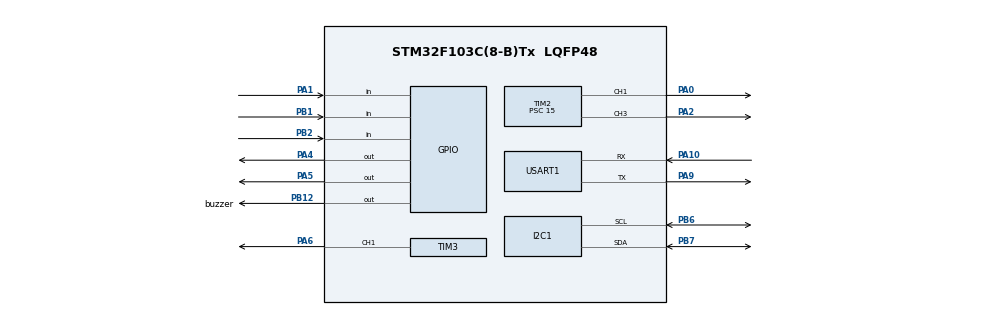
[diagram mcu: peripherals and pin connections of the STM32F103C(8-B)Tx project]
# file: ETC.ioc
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Mcu.Family=STM32F1
Mcu.Name=STM32F103C(8-B)Tx
Mcu.Package=LQFP48
NVIC.PriorityGroup=NVIC_PRIORITYGROUP_4
PA0-WKUP.Signal=S_TIM2_CH1_ETR
PA1.Signal=GPIO_Input
PA10.Mode=Asynchronous
PA10.Signal=USART1_RX
PA13.Mode=Serial_Wire
PA13.Signal=SYS_JTMS-SWDIO
PA14.Mode=Serial_Wire
PA14.Signal=SYS_JTCK-SWCLK
PA2.Signal=S_TIM2_CH3
PA4.Signal=GPIO_Output
PA5.Signal=GPIO_Output
PA6.Signal=S_TIM3_CH1
PA9.Mode=Asynchronous
PA9.Signal=USART1_TX
PB1.GPIO_PuPd=GPIO_PULLUP
PB1.Signal=GPIO_Input
PB12.GPIO_Label=buzzer
PB12.GPIO_PuPd=GPIO_PULLUP
PB12.GPIO_Speed=GPIO_SPEED_FREQ_MEDIUM
PB12.PinState=GPIO_PIN_SET
PB12.Signal=GPIO_Output
PB2.GPIO_PuPd=GPIO_PULLUP
PB2.Signal=GPIO_Input
PB6.Mode=I2C
PB6.Signal=I2C1_SCL
PB7.Mode=I2C
PB7.Signal=I2C1_SDA
ProjectManager.HeapSize=0x200
ProjectManager.StackSize=0x400
ProjectManager.TargetToolchain=STM32CubeIDE
RCC.APB1Freq_Value=8000000
RCC.APB2Freq_Value=8000000
SH.S_TIM2_CH1_ETR.0=TIM2_CH1,PWM Generation1 CH1
SH.S_TIM2_CH3.0=TIM2_CH3,PWM Generation3 CH3
SH.S_TIM3_CH1.0=TIM3_CH1,PWM Generation1 CH1
TIM2.Channel-PWM\ Generation1\ CH1=TIM_CHANNEL_1
TIM2.Channel-PWM\ Generation3\ CH3=TIM_CHANNEL_3
TIM2.Period=9999
TIM2.Prescaler=15
TIM2.Pulse-PWM\ Generation1\ CH1=1500
TIM2.Pulse-PWM\ Generation3\ CH3=1500
TIM3.Channel-PWM\ Generation1\ CH1=TIM_CHANNEL_1
TIM3.Prescaler=8-1
USART1.VirtualMode=VM_ASYNC
VP_TIM2_VS_ClockSourceINT.Mode=Internal
board=custom

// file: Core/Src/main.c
/* USER CODE BEGIN 0 */

//完美的一次！！！！！

#include "stm32f1xx_hal.h"
#include "main.h"
#include "i2c.h"
#include "tim.h"
#include "usart.h"
#include "gpio.h"
#include "ssd1306.h"
#include "ssd1306_fonts.h"
#include <string.h>
#include "ssd1306_tests.h"
#include "aht20.h"
#include "stdio.h"

/* Private includes ----------------------------------------------------------*/
/* USER CODE BEGIN Includes */
#define UART_RX_BUFFER_SIZE 64
#define UART_RX_CMD_SIZE 2

// 串口接收环形缓冲区结构
typedef struct {
    uint8_t buffer[UART_RX_BUFFER_SIZE];
    volatile uint16_t head;
    volatile uint16_t tail;
} UART_RxBuffer_t;

UART_RxBuffer_t uartRxBuffer = {0};
uint8_t uartCmd[UART_RX_CMD_SIZE];
uint8_t commandInProgress = 0; // 命令处理中标志

void ssd1306_NumInt(int number, uint8_t x, uint8_t y, SSD1306_Font_t Font, SSD1306_COLOR color)
{
    char buffer[16];
    sprintf(buffer, "%d", number);
    ssd1306_SetCursor(x, y);
    ssd1306_WriteString(buffer, Font, color);
}
/* USER CODE END Includes */

typedef enum
{
    NO_CAR,
    WAITING_RESPONSE,
} SystemState;

/* USER CODE BEGIN PD */
#define SERVO_OPEN 450
#define SERVO_CLOSED   1000
uint8_t servoState = 0;
int8_t Speed = 0;
uint8_t KeyNum0, KeyNum1, KeyNum2;

/* Private function prototypes -----------------------------------------------*/
void SystemClock_Config(void);
/* USER CODE BEGIN PFP */
void UART_ProcessCommand(uint8_t *cmd);
/* USER CODE END PFP */

/* Private user code ---------------------------------------------------------*/

// 从环形缓冲区读取一个字节
uint8_t UART_ReadByte(uint8_t *data)
{
    if(uartRxBuffer.head == uartRxBuffer.tail)
        return 0; // 缓冲区空

    *data = uartRxBuffer.buffer[uartRxBuffer.tail];
    uartRxBuffer.tail = (uartRxBuffer.tail + 1) % UART_RX_BUFFER_SIZE;
    return 1;
}

uint8_t Key_GetNum0(void)
{
    uint8_t KeyNum0 = 0;
    if (HAL_GPIO_ReadPin(GPIOB, GPIO_PIN_12) == GPIO_PIN_RESET)
    {
        HAL_Delay(20);
        while (HAL_GPIO_ReadPin(GPIOB, GPIO_PIN_12) == GPIO_PIN_RESET);
        HAL_Delay(20);
        KeyNum0 = 1;
    }
    return KeyNum0;
}

uint8_t Key_GetNum1(void)
{
    uint8_t KeyNum1 = 0;
    if (HAL_GPIO_ReadPin(GPIOB, GPIO_PIN_1) == GPIO_PIN_RESET)
    {
        HAL_Delay(20);
        while (HAL_GPIO_ReadPin(GPIOB, GPIO_PIN_1) == GPIO_PIN_RESET);
        HAL_Delay(20);
        KeyNum1 = 1;
    }
    return KeyNum1;
}

uint8_t Key_GetNum_2(void)
{
    uint8_t KeyNum2 = 0;
    if (HAL_GPIO_ReadPin(GPIOB, GPIO_PIN_3) == GPIO_PIN_RESET)
    {
        HAL_Delay(20);
        while (HAL_GPIO_ReadPin(GPIOB, GPIO_PIN_3) == GPIO_PIN_RESET);
        HAL_Delay(20);
        KeyNum2 = 1;
    }
    return KeyNum2;
}

void Motor_SetSpeed(int8_t Speed)
{
    if (Speed >= 0)
    {
        HAL_GPIO_WritePin(GPIOA, GPIO_PIN_4, GPIO_PIN_SET);
        HAL_GPIO_WritePin(GPIOA, GPIO_PIN_5, GPIO_PIN_RESET);
        __HAL_TIM_SET_COMPARE(&htim3, TIM_CHANNEL_1, Speed);
    }
}

void ManualControlServo(void)
{
    KeyNum2 = Key_GetNum_2();
    if (KeyNum2 == 1)
    {
        servoState = !servoState;
        if (servoState)
        {
            __HAL_TIM_SET_COMPARE(&htim2, TIM_CHANNEL_1, SERVO_OPEN);
        }
        else
        {
            __HAL_TIM_SET_COMPARE(&htim2, TIM_CHANNEL_1, SERVO_CLOSED);
        }
    }
}

// 处理接收到的命令
void UART_ProcessCommand(uint8_t *cmd)
{
    // 命令处理中标志，防止重入
    if(commandInProgress) return;
    commandInProgress = 1;

    if(cmd[0] == 'O' && cmd[1] == 'K')
    {
    	HAL_Delay(1700);  //等待上一句“车辆靠近”说完

    	//蜂鸣器提示一下
        HAL_GPIO_WritePin(GPIOA, GPIO_PIN_7, GPIO_PIN_RESET);
        HAL_Delay(150);
        HAL_GPIO_WritePin(GPIOA, GPIO_PIN_7, GPIO_PIN_SET);

        HAL_Delay(200);  //稍等一下，提示完再说话

    	//请尽快通行的语音
        HAL_GPIO_WritePin(GPIOB, GPIO_PIN_14, GPIO_PIN_RESET);
        HAL_Delay(100);
        HAL_GPIO_WritePin(GPIOB, GPIO_PIN_14, GPIO_PIN_SET);

        HAL_Delay(500);   //稍等0.5秒然后升起栏杆

        __HAL_TIM_SET_COMPARE(&htim2, TIM_CHANNEL_1, SERVO_OPEN);

        // 新增逻辑：时刻检测光敏传感器的输出
        while (1)
        {
            GPIO_PinState carSensor = HAL_GPIO_ReadPin(GPIOA, GPIO_PIN_1);
            uint8_t carDetected = (carSensor == GPIO_PIN_SET) ? 1 : 0; // 假设光敏传感器检测到物体时为高电平

            if (!carDetected) // 光敏传感器输出为低电平，执行落下操作
            {
                HAL_Delay(1500);
                __HAL_TIM_SET_COMPARE(&htim2, TIM_CHANNEL_1, SERVO_CLOSED);
                break; // 退出循环
            }
            else
            {
                // 光敏传感器输出为高电平，保持栏杆升起，继续检测
                HAL_Delay(100); // 避免过于频繁的检测
            }
        }

    }
    else if(cmd[0] == 'N' && cmd[1] == 'O')
    {
    	HAL_Delay(1700);  //等待上一句车辆靠近说完

    	//蜂鸣器提示一下
        HAL_GPIO_WritePin(GPIOA, GPIO_PIN_7, GPIO_PIN_RESET);
        HAL_Delay(150);
        HAL_GPIO_WritePin(GPIOA, GPIO_PIN_7, GPIO_PIN_SET);

        HAL_Delay(200);  //稍等一下，提示完再说话

    	//请缴费的语音
        HAL_GPIO_WritePin(GPIOB, GPIO_PIN_13, GPIO_PIN_RESET);
        HAL_Delay(100);
        HAL_GPIO_WritePin(GPIOB, GPIO_PIN_13, GPIO_PIN_SET);

        ssd1306_TestDrawBitmap();
        HAL_Delay(4000);
    }

    commandInProgress = 0;
}

int main(void)
{
    HAL_Init();
    SystemClock_Config();
    MX_GPIO_Init();
    MX_TIM2_Init();
    MX_I2C1_Init();
    MX_USART1_UART_Init();
    MX_TIM3_Init();

    HAL_TIM_PWM_Start(&htim2, TIM_CHANNEL_1);
    HAL_TIM_PWM_Start(&htim3, TIM_CHANNEL_1);

    // 重要：重新配置波特率后重新初始化
    huart1.Instance = USART1;
    huart1.Init.BaudRate = 115200;
    huart1.Init.WordLength = UART_WORDLENGTH_8B;
    huart1.Init.StopBits = UART_STOPBITS_1;
    huart1.Init.Parity = UART_PARITY_NONE;
    huart1.Init.Mode = UART_MODE_TX_RX;
    huart1.Init.HwFlowCtl = UART_HWCONTROL_NONE;
    huart1.Init.OverSampling = UART_OVERSAMPLING_16;
    if (HAL_UART_Init(&huart1) != HAL_OK)
    {
        Error_Handler();
    }

    // 启用串口接收中断
    __HAL_UART_ENABLE_IT(&huart1, UART_IT_RXNE);
    HAL_NVIC_SetPriority(USART1_IRQn, 0, 0);
    HAL_NVIC_EnableIRQ(USART1_IRQn);

    // 清空串口接收缓冲区
    uint8_t dummy;
    while(__HAL_UART_GET_FLAG(&huart1, UART_FLAG_RXNE)) {
        dummy = huart1.Instance->DR;
    }

    ssd1306_Init();
    AHT20_Init();
    float temperature, humidity;
    char message[50];
    int currentTemperature;
    int8_t Aut = 0, Flag = 0, Manual = 0;

    SystemState state = NO_CAR;
    uint8_t carDetectedPrevious = 0;
    uint32_t lastCarDetectionTime = 0;
    __HAL_TIM_SET_COMPARE(&htim2, TIM_CHANNEL_1, SERVO_CLOSED);

    // 初始化环形缓冲区
    uartRxBuffer.head = 0;
    uartRxBuffer.tail = 0;
    commandInProgress = 0;

    // 初始化完成后延时，确保系统稳定
    HAL_Delay(100);

    // 新增：车辆检测防抖变量
    uint32_t lastCarDetectTime = 0;
    uint8_t carDetectSent = 0;

    while (1)
    {
        GPIO_PinState carSensor = HAL_GPIO_ReadPin(GPIOA, GPIO_PIN_1);
        uint8_t carDetected = (carSensor == GPIO_PIN_SET) ? 1 : 0;
        uint32_t currentTime = HAL_GetTick();

        ManualControlServo();

        // 新增：车辆检测防抖逻辑 - 修复多次发送问题
        if (carDetected && !carDetectedPrevious && (currentTime - lastCarDetectTime > 1000))
        {
            // 设置防抖时间，确保1秒内只检测一次
            lastCarDetectTime = currentTime;
            carDetectSent = 0; // 重置发送标志
        }

        switch (state)
        {
            case NO_CAR:
                // 新增：确保只发送一次车辆检测信号
                if (carDetected && !carDetectedPrevious && !carDetectSent && (currentTime - lastCarDetectTime < 100))
                {

                	//车辆靠近，等待检查的语音
                    HAL_GPIO_WritePin(GPIOB, GPIO_PIN_15, GPIO_PIN_RESET);
                    HAL_Delay(100);
                    HAL_GPIO_WritePin(GPIOB, GPIO_PIN_15, GPIO_PIN_SET);

                    char *carDetectMsg = "CAR_DETECTED\n";
                    // 只发送一次，不重试
                    HAL_UART_Transmit(&huart1, (uint8_t*)carDetectMsg, strlen(carDetectMsg), 100);

                    // 标记已发送
                    carDetectSent = 1;

                    state = WAITING_RESPONSE;
                    lastCarDetectionTime = currentTime;
                }
                break;

            case WAITING_RESPONSE:
                // 超时处理
                if (currentTime - lastCarDetectionTime > 3000)
                {
                    ssd1306_Fill(White);
                    ssd1306_SetCursor(0, 10);
                    ssd1306_WriteString("Timeout", Font_6x8, Black);
                    ssd1306_UpdateScreen();
                    state = NO_CAR;
                }
                break;
        }

        carDetectedPrevious = carDetected;
        HAL_Delay(10);

        // 处理接收到的UART数据
        static uint8_t cmdIndex = 0;
        static uint32_t lastByteTime = 0;
        uint8_t rxByte;
        uint32_t currentByteTime = HAL_GetTick();

        while(UART_ReadByte(&rxByte))
        {
            // 检查字节间隔时间，如果超过20ms则重置命令索引
            if(currentByteTime - lastByteTime > 20 && cmdIndex > 0) {
                cmdIndex = 0; // 超时重置
            }

            lastByteTime = currentByteTime;

            // 存储接收到的字节
            if(cmdIndex < UART_RX_CMD_SIZE) {
                uartCmd[cmdIndex++] = rxByte;
            }

            // 收到完整命令
            if(cmdIndex == UART_RX_CMD_SIZE) {
                UART_ProcessCommand(uartCmd);

                // 如果处于等待状态，切换到无车状态
                if(state == WAITING_RESPONSE) {
                    state = NO_CAR;
                }

                cmdIndex = 0; // 重置索引
            }
        }

        // 如果超过50ms没有收到新字节，重置命令索引
        if(cmdIndex > 0 && (HAL_GetTick() - lastByteTime > 50)) {
            cmdIndex = 0;
        }

        // 按键处理
        KeyNum0 = Key_GetNum0();
        if(KeyNum0 == 1)
        {
            Flag += 1;
            if(Flag == 2)
            {
                Flag = 0;
            }
        }

        // 温湿度处理
        AHT20_Measure();
        temperature = AHT20_Temperature();
        currentTemperature = (int)temperature;
        humidity = AHT20_Humidity();

        // OLED显示
        ssd1306_Fill(White);
        ssd1306_SetCursor(8, 0);
        ssd1306_WriteString("ETC System", Font_11x18, Black);
        sprintf(message, "Temperature: %.1f", temperature);
        ssd1306_SetCursor(0, 32);
        ssd1306_WriteString(message, Font_7x10, Black);
        sprintf(message, "Humidity: %.1f%%", humidity);
        ssd1306_SetCursor(0, 50);
        ssd1306_WriteString(message, Font_7x10, Black);
        ssd1306_UpdateScreen();

        // 风扇控制
        if(Flag == 1)
        {
            if (currentTemperature < 27)
            {
                Aut = 0;
            }
            else if (currentTemperature >= 27 && currentTemperature < 29)
            {
                Aut = 25;
            }
            else if (currentTemperature >= 29 && currentTemperature <= 100)
            {
                Aut = 49;
            }
        }

        if(Flag == 0)
        {
            KeyNum1 = Key_GetNum1();
            if (KeyNum1 == 1)
            {
                Manual += 25;
                if (Manual > 50)
                {
                    Manual = 0;
                }
                Aut = Manual;
            }
        }

        Motor_SetSpeed(Aut);
    }
}

void SystemClock_Config(void)
{
    RCC_OscInitTypeDef RCC_OscInitStruct = {0};
    RCC_ClkInitTypeDef RCC_ClkInitStruct = {0};

    RCC_OscInitStruct.OscillatorType = RCC_OSCILLATORTYPE_HSI;
    RCC_OscInitStruct.HSIState = RCC_HSI_ON;
    RCC_OscInitStruct.HSICalibrationValue = RCC_HSICALIBRATION_DEFAULT;
    RCC_OscInitStruct.PLL.PLLState = RCC_PLL_NONE;
    if (HAL_RCC_OscConfig(&RCC_OscInitStruct) != HAL_OK)
    {
        Error_Handler();
    }

    RCC_ClkInitStruct.ClockType = RCC_CLOCKTYPE_HCLK|RCC_CLOCKTYPE_SYSCLK
                                |RCC_CLOCKTYPE_PCLK1|RCC_CLOCKTYPE_PCLK2;
    RCC_ClkInitStruct.SYSCLKSource = RCC_SYSCLKSOURCE_HSI;
    RCC_ClkInitStruct.AHBCLKDivider = RCC_SYSCLK_DIV1;
    RCC_ClkInitStruct.APB1CLKDivider = RCC_HCLK_DIV1;
    RCC_ClkInitStruct.APB2CLKDivider = RCC_HCLK_DIV1;

    if (HAL_RCC_ClockConfig(&RCC_ClkInitStruct, FLASH_LATENCY_0) != HAL_OK)
    {
        Error_Handler();
    }
}

/* USER CODE BEGIN 4 */
// USART1中断处理函数
// 串口接收到新数据时，触发中断并读取数据
void USART1_IRQHandler(void)
{
    // 只处理接收中断
    if (__HAL_UART_GET_FLAG(&huart1, UART_FLAG_RXNE) != RESET)  //检查接收数据标志（RXNE=1表示有数据）
    {
        // 读取数据寄存器（自动清除RXNE标志）
        uint8_t data = (uint8_t)(huart1.Instance->DR);  // 读取数据寄存器（DR），自动清除RXNE标志

        // 安全地将数据存入环形缓冲区
        uint16_t next_head = (uartRxBuffer.head + 1) % UART_RX_BUFFER_SIZE;

        // 检查缓冲区是否已满
        if (next_head != uartRxBuffer.tail)
        {
            uartRxBuffer.buffer[uartRxBuffer.head] = data;
            uartRxBuffer.head = next_head;
        }
        else
        {
            // 缓冲区满，丢弃最旧的数据
            uartRxBuffer.tail = (uartRxBuffer.tail + 1) % UART_RX_BUFFER_SIZE;
            uartRxBuffer.buffer[uartRxBuffer.head] = data;
            uartRxBuffer.head = next_head;
        }
    }

    // 清除可能的溢出错误
    if (__HAL_UART_GET_FLAG(&huart1, UART_FLAG_ORE))
    {
        __HAL_UART_CLEAR_OREFLAG(&huart1);
    }
}
/* USER CODE END 4 */

void Error_Handler(void)
{
    __disable_irq();
    while (1)
    {
    }
}

#ifdef USE_FULL_ASSERT
void assert_failed(uint8_t *file, uint32_t line)
{
}
#endif

/* USER CODE END 0 */
